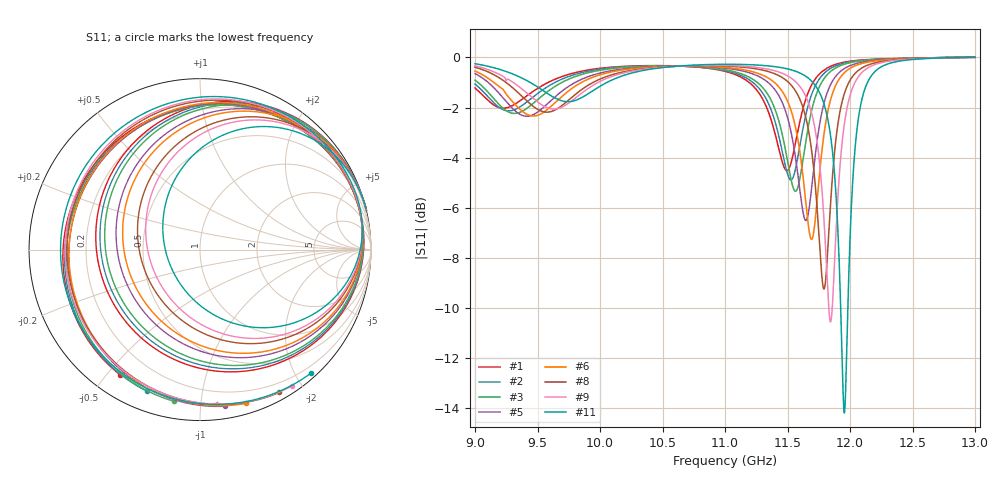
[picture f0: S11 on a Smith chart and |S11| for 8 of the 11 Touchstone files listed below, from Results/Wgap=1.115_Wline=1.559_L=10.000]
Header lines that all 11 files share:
! TOUCHSTONE file generated by CST DESIGN STUDIO
! Project name: C:\Work\MatlabApps\UnitCellOptimizationMatlab\CST\unitcell.cst
! Tree item: Tasks\Sweep1\SPara1\S-Parameters
! Header version: 2024
! Port assignment regex: !\s*Touchstone port\s*([0-9]+)\s*=\s*(CST MWS port|CST DES external port|CST DES block port)\s*(.+)\s* \(\"(.*)\"\)(\s*mode\s*([0-9]+))?.*
! Touchstone port assignment:
! Touchstone port 1 = CST DES external port 1 ("")
# GHz S MA R 50
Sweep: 9 GHz to 13 GHz
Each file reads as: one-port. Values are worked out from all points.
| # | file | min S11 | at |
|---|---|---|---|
| 1 | DS_for_MWS-run-0001.s1p | -4.5 dB | 11.49 GHz |
| 2 | DS_for_MWS-run-0002.s1p | -4.9 dB | 11.53 GHz |
| 3 | DS_for_MWS-run-0003.s1p | -5.3 dB | 11.56 GHz |
| 4 | DS_for_MWS-run-0004.s1p | -5.9 dB | 11.6 GHz |
| 5 | DS_for_MWS-run-0005.s1p | -6.5 dB | 11.65 GHz |
| 6 | DS_for_MWS-run-0006.s1p | -7.3 dB | 11.69 GHz |
| 7 | DS_for_MWS-run-0007.s1p | -8.2 dB | 11.74 GHz |
| 8 | DS_for_MWS-run-0008.s1p | -9.2 dB | 11.79 GHz |
| 9 | DS_for_MWS-run-0009.s1p | -10.6 dB | 11.84 GHz |
| 10 | DS_for_MWS-run-0010.s1p | -12.2 dB | 11.9 GHz |
| 11 | DS_for_MWS-run-0011.s1p | -14.2 dB | 11.96 GHz |
